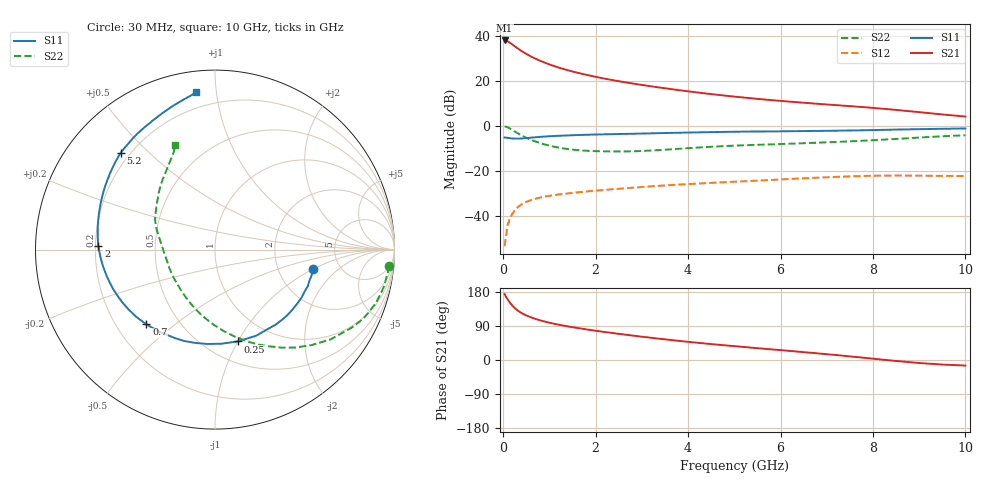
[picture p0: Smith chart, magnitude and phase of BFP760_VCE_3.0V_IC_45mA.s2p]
! Infineon Technologies  Discrete & RF Semiconductors
! BFP760
! VCE =  3.0 V,  IC =  45 mA
! Common Emitter S-Parameters:  Nov 2012
# GHz  S  MA  R  50
!  f  S11  S21  S12  S22
! GHz  MAG  ANG  MAG  ANG  MAG  ANG  MAG  ANG
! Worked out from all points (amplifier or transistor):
!   99 points, 30 MHz to 10 GHz, reference 50 ohm
!   highest |S21| = 37.9 dB at 30 MHz (marker M1)
!   |S21| within 3 dB of that: start of sweep to 279.2 MHz
!   unconditionally stable (mu >= 1): 3.813 GHz to end of sweep
!   at 350 MHz: K = 0.35, MSG = 34.6 dB, |S12| = -35.3 dB
!   at 3.5 GHz: K = 0.98, MSG = 21.5 dB, |S12| = -26.3 dB
!   at 10 GHz: K = 1.05, MAG = 11.7 dB, |S12| = -22.1 dB
!   S11 on the Smith chart (normalised r, x): 30 MHz: 3.19, -0.99; 250 MHz: 0.71, -1.00; 700 MHz: 0.33, -0.40; 2 GHz: 0.21, +0.01; 5.2 GHz: 0.17, +0.41; 10 GHz: 0.11, +0.88
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0.03  0.558 -11.0  78.28 173.9  0.0022 85.3  0.9719 -5.4
0.05  0.5542 -18.0  78.09 169.1  0.0031 95.9  0.9666 -9.7
0.07  0.5514 -25.3  76.9 165.0  0.0041 77.6  0.9578 -14.2
0.1  0.5468 -35.4  74.21 159.1  0.0067 72.7  0.9328 -20.5
0.13  0.5419 -45.0  71.12 153.7  0.0084 71.8  0.9014 -26.3
0.15  0.5375 -51.1  69.04 150.4  0.0093 72.2  0.8765 -29.8
0.2  0.5316 -64.5  63.48 143.1  0.0115 67.1  0.8157 -37.8
0.25  0.5272 -76.0  58.29 137.0  0.0137 62.2  0.7574 -44.6
0.35  0.5276 -94.6  49.17 127.5  0.0171 56.4  0.6594 -55.9
0.45  0.5372 -108.5  42.24 120.5  0.0197 52.5  0.5835 -65.2
0.6  0.5537 -124.4  34.64 112.6  0.023 48.1  0.4977 -77.1
0.7  0.565 -132.5  30.87 108.3  0.0247 45.8  0.4546 -84.2
0.9  0.5856 -145.3  25.24 101.3  0.0275 42.4  0.391 -96.9
1.1  0.6012 -154.9  21.27 95.7  0.0296 40.3  0.3484 -108.1
1.7  0.636 -174.5  14.35 82.7  0.0349 37.7  0.2875 -134.7
2  0.6501 178.3  12.3 77.2  0.0371 37.2  0.2785 -145.7
3.4  0.6968 153.8  7.08 55.8  0.0478 35.3  0.2953 176.8
5.1  0.7505 135.0  4.378 35.5  0.0593 31.5  0.3722 153.7
5.2  0.7527 134.2  4.279 34.4  0.06 31.3  0.3752 152.7
6.7  0.7783 123.5  3.164 18.7  0.0713 26.4  0.4246 138.9
8.5  0.835 106.2  2.277 -2.6  0.0805 15.0  0.5181 121.5
10  0.8834 96.8  1.623 -14.7  0.0786 9.9  0.626 110.9
